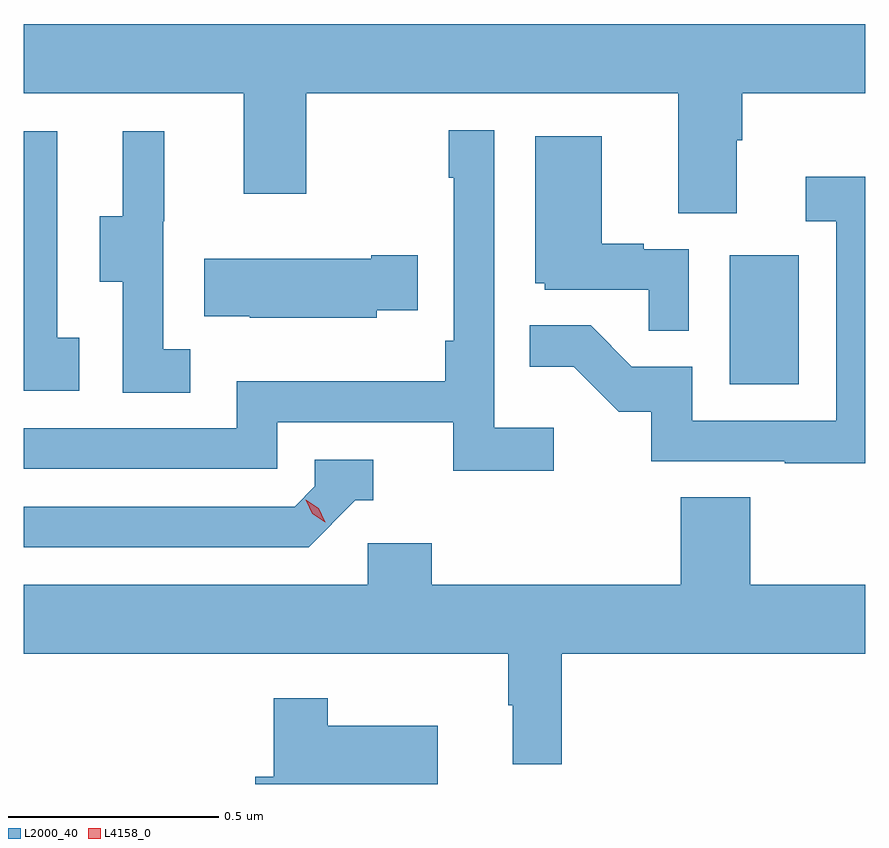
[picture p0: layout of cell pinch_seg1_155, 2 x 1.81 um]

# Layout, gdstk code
import gdstk
lib = gdstk.Library(unit=1e-6, precision=1e-09)
def R(c, l, rs):  # rectangles x0, y0, x1, y1
    for r in rs: c.add(gdstk.rectangle(r[:2], r[2:], *l))
def P(c, l, *ps):  # polygons
    for p in ps: c.add(gdstk.Polygon(p, *l))
L2000_40 = (2000, 40)
L4158_0 = (4158, 0)

pinch_seg1_155 = lib.new_cell('pinch_seg1_155')
R(pinch_seg1_155, L2000_40, [(1109.084,552.372,1109.248,552.679)])
P(pinch_seg1_155, L2000_40, [(1109.101,552.952),(1109.114,552.952),(1109.114,553.064),(1109.406,553.064),(1109.406,553.228),(1107.406,553.228),(1107.406,553.064),(1107.929,553.064),(1107.929,552.825),(1108.077,552.825),(1108.077,553.064),(1108.961,553.064),(1108.961,552.778),(1109.101,552.778)],
  [(1108.666,552.268),(1108.524,552.268),(1108.524,552.976),(1108.416,552.976),(1108.416,552.863),(1108.428,552.863),(1108.428,552.475),(1108.408,552.475),(1108.408,552.379),(1107.912,552.379),(1107.912,552.267),(1107.406,552.267),(1107.406,552.171),(1108.008,552.171),(1108.008,552.282),(1108.427,552.282),(1108.427,552.166),(1108.666,552.166)],
  [(1107.538,552.482),(1107.486,552.482),(1107.486,552.973),(1107.406,552.973),(1107.406,552.357),(1107.538,552.357)],
  [(1107.802,552.455),(1107.738,552.455),(1107.738,552.759),(1107.74,552.759),(1107.74,552.973),(1107.641,552.973),(1107.641,552.771),(1107.587,552.771),(1107.587,552.616),(1107.642,552.616),(1107.642,552.352),(1107.802,552.352)],
  [(1108.986,552.693),(1108.88,552.693),(1108.88,552.706),(1108.78,552.706),(1108.78,552.961),(1108.622,552.961),(1108.622,552.612),(1108.644,552.612),(1108.644,552.597),(1108.891,552.597),(1108.891,552.499),(1108.986,552.499)],
  [(1109.406,552.865),(1109.265,552.865),(1109.265,552.759),(1109.337,552.759),(1109.337,552.285),(1108.995,552.285),(1108.995,552.414),(1108.851,552.414),(1108.753,552.512),(1108.609,552.512),(1108.609,552.413),(1108.713,552.413),(1108.82,552.306),(1108.897,552.306),(1108.897,552.189),(1109.215,552.189),(1109.215,552.184),(1109.406,552.184)],
  [(1108.245,552.548),(1108.343,552.548),(1108.343,552.678),(1108.232,552.678),(1108.232,552.67),(1107.835,552.67),(1107.835,552.533),(1107.943,552.533),(1107.943,552.53),(1108.245,552.53)],
  [(1108.194,552.096),(1108.237,552.096),(1108.237,552.192),(1108.098,552.192),(1108.098,552.129),(1108.05,552.081),(1107.406,552.081),(1107.406,551.985),(1108.083,551.985)],
  [(1108.685,551.732),(1109.406,551.732),(1109.406,551.896),(1109.132,551.896),(1109.132,552.104),(1108.967,552.104),(1108.967,551.896),(1108.376,551.896),(1108.376,551.994),(1108.224,551.994),(1108.224,551.896),(1107.406,551.896),(1107.406,551.732),(1108.557,551.732),(1108.557,551.609),(1108.568,551.609),(1108.568,551.469),(1108.685,551.469)],
  [(1108.39,551.56),(1108.129,551.56),(1108.129,551.626),(1108,551.626),(1108,551.439),(1107.956,551.439),(1107.956,551.422),(1108.39,551.422)])
P(pinch_seg1_155, L4158_0, [(1108.123,552.044),(1108.092,552.064),(1108.076,552.097),(1108.076,552.097),(1108.076,552.097),(1108.107,552.077),(1108.123,552.044),(1108.123,552.044)])

lib.write_gds('pinch_seg1_155.gds')
